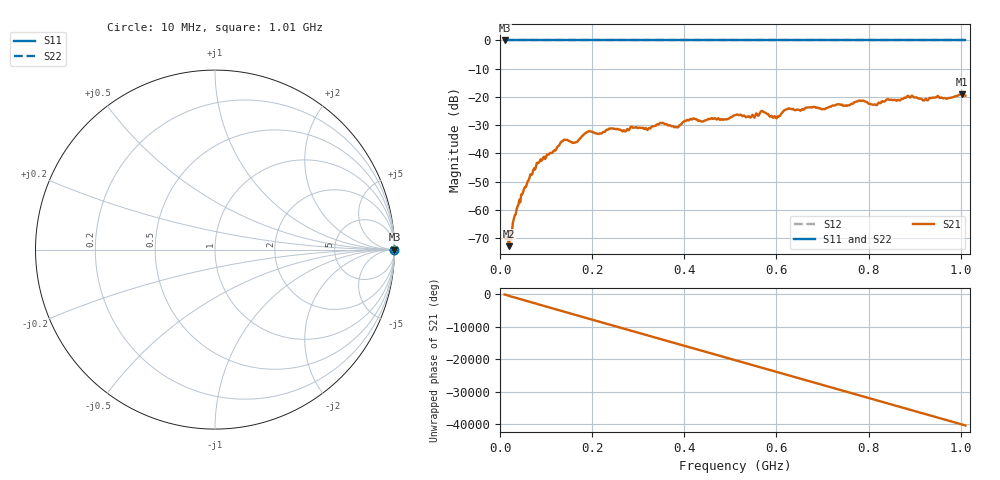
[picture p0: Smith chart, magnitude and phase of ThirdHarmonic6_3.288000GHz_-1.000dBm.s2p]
! 8/17/2025 10:13:09 AM
! C:\ANRITSUVNA\TEMP\TEMP.S2P
! CHANNEL.1
! TR.MEASUREMENT
! RAW.DATA
! RF.CORRECTION.OFF
! AVERAGING.OFF
! IF.BANDWIDTH: 5KHZ
! SWEEPTYPE:  FREQ.SWEEP(Linear)
! Reference Plane Port Info
! PORT:  PORT1  PORT2
! DISTANCE:  0  m  0  m
! TIME:  0  s  0  s
! PHASE.OFFSET:  0  deg.  0  deg.
! LOSS:  0  dB  0  dB
! REF.LOSS:  0  dB  0  dB
! REF.FREQ:  0  Hz  0  Hz
! Power Info
! POWER:  -20  dBm  -20  dBm
! EFF.POWER:  -20  dBm  -20  dBm
! SOURCE.ATTEN:  0  dB  0  dB
! TEST.ATTEN:  0  dB  0  dB
# GHZ S RI R 50.0
! FREQ.GHZ  S11RE  S11IM  S21RE  S21IM  S12RE  S12IM  S22RE  S22IM
!; PortSelection: Port_12
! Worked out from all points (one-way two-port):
!   501 points, 10 MHz to 1.01 GHz, reference 50 ohm
!   highest |S21| = -19.04 dB at 1.002 GHz (marker M1); lowest = -72.8 dB at 20 MHz (marker M2)
!   lowest |S11| = 0.0 dB at 10 MHz (marker M3)
!   |S11| at or under -10 dB: nowhere
!   |S22| runs from 0.0 to 0.0 dB; largest |S21 - S12| = 1.1
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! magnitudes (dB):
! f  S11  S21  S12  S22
! 10 MHz  0.0  -69.3  0.0  0.0
! 20 MHz  0.0  -72.8  0.0  0.0
! 34 MHz  0.0  -61.6  0.0  0.0
! 50 MHz  0.0  -53.8  0.0  0.0
! 84 MHz  0.0  -43.3  0.0  0.0
! 136 MHz  0.0  -35.7  0.0  0.0
! 162 MHz  0.0  -36.2  0.0  0.0
! 178 MHz  0.0  -33.9  0.0  0.0
! 194 MHz  0.0  -32.2  0.0  0.0
! 344 MHz  0.0  -29.7  0.0  0.0
! 382 MHz  0.0  -30.7  0.0  0.0
! 416 MHz  0.0  -28.0  0.0  0.0
! 510 MHz  0.0  -26.5  0.0  0.0
! 570 MHz  0.0  -25.0  0.0  0.0
! 596 MHz  0.0  -26.8  0.0  0.0
! 624 MHz  0.0  -24.3  0.0  0.0
! 678 MHz  0.0  -23.7  0.0  0.0
! 782 MHz  0.0  -21.3  0.0  0.0
! 814 MHz  0.0  -22.6  0.0  0.0
! 844 MHz  0.0  -21.0  0.0  0.0
! 1.002 GHz  0.0  -19.0  0.0  0.0
! 1.01 GHz  0.0  -19.6  0.0  0.0
